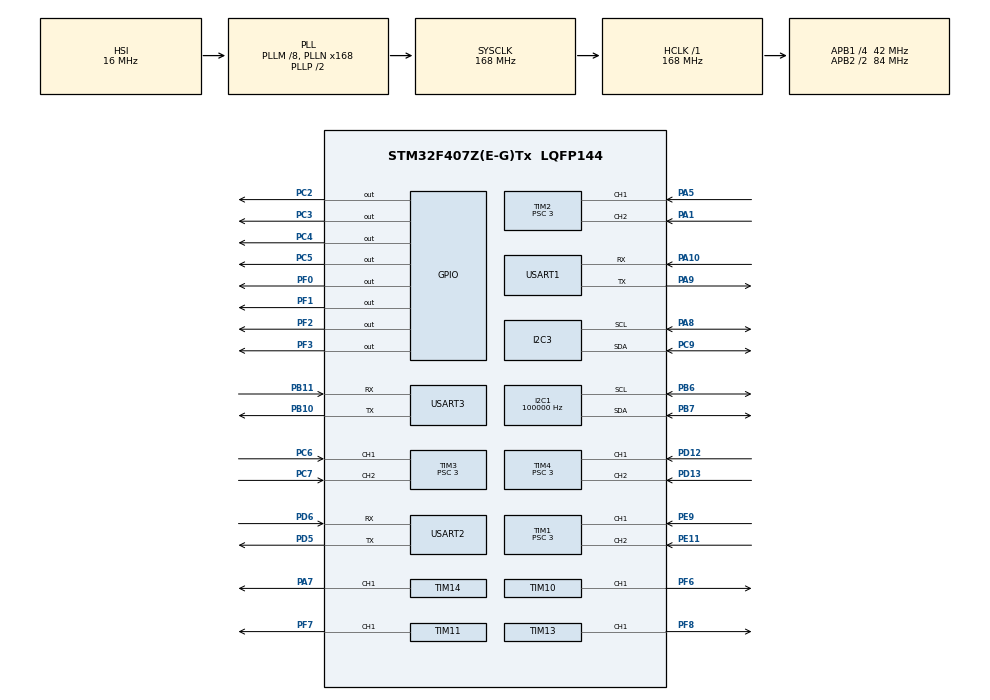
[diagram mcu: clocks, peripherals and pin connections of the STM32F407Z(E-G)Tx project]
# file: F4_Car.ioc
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FREERTOS.Tasks01=defaultTask,0,128,StartDefaultTask,Default,NULL,Dynamic,NULL,NULL;myTask02,-3,256,StartTask02,Default,NULL,Dynamic,NULL,NULL;myTask03,-3,256,StartTask03,Default,NULL,Dynamic,NULL,NULL
I2C1.ClockSpeed=100000
Mcu.Family=STM32F4
Mcu.Name=STM32F407Z(E-G)Tx
Mcu.Package=LQFP144
NVIC.PriorityGroup=NVIC_PRIORITYGROUP_4
NVIC.TIM6_DAC_IRQn=true\:5\:0\:true\:false\:true\:true\:true\:true\:true
NVIC.TIM7_IRQn=true\:7\:0\:true\:false\:true\:true\:true\:true\:true
NVIC.USART2_IRQn=true\:6\:0\:true\:false\:true\:true\:true\:true\:true
NVIC.USART3_IRQn=true\:6\:0\:true\:false\:true\:true\:true\:true\:true
PA1.Signal=S_TIM2_CH2
PA10.Mode=Asynchronous
PA10.Signal=USART1_RX
PA5.Signal=S_TIM2_CH1_ETR
PA7.Signal=S_TIM14_CH1
PA8.Mode=I2C
PA8.Signal=I2C3_SCL
PA9.Mode=Asynchronous
PA9.Signal=USART1_TX
PB10.Mode=Asynchronous
PB10.Signal=USART3_TX
PB11.Mode=Asynchronous
PB11.Signal=USART3_RX
PB6.Mode=I2C
PB6.Signal=I2C1_SCL
PB7.Mode=I2C
PB7.Signal=I2C1_SDA
PC2.GPIO_PuPd=GPIO_PULLDOWN
PC2.GPIO_Speed=GPIO_SPEED_FREQ_MEDIUM
PC2.PinState=GPIO_PIN_RESET
PC2.Signal=GPIO_Output
PC3.GPIO_PuPd=GPIO_PULLDOWN
PC3.GPIO_Speed=GPIO_SPEED_FREQ_MEDIUM
PC3.Signal=GPIO_Output
PC4.GPIO_PuPd=GPIO_PULLDOWN
PC4.GPIO_Speed=GPIO_SPEED_FREQ_MEDIUM
PC4.Signal=GPIO_Output
PC5.GPIO_PuPd=GPIO_PULLDOWN
PC5.GPIO_Speed=GPIO_SPEED_FREQ_MEDIUM
PC5.Signal=GPIO_Output
PC6.Signal=S_TIM3_CH1
PC7.Signal=S_TIM3_CH2
PC9.Mode=I2C
PC9.Signal=I2C3_SDA
PD12.Signal=S_TIM4_CH1
PD13.Signal=S_TIM4_CH2
PD5.Mode=Asynchronous
PD5.Signal=USART2_TX
PD6.Mode=Asynchronous
PD6.Signal=USART2_RX
PE11.Signal=S_TIM1_CH2
PE9.Signal=S_TIM1_CH1
PF0.Signal=GPIO_Output
PF1.GPIO_PuPd=GPIO_PULLDOWN
PF1.GPIO_Speed=GPIO_SPEED_FREQ_MEDIUM
PF1.Signal=GPIO_Output
PF2.GPIO_PuPd=GPIO_PULLDOWN
PF2.GPIO_Speed=GPIO_SPEED_FREQ_MEDIUM
PF2.Signal=GPIO_Output
PF3.GPIO_PuPd=GPIO_PULLDOWN
PF3.GPIO_Speed=GPIO_SPEED_FREQ_MEDIUM
PF3.Signal=GPIO_Output
PF6.Signal=S_TIM10_CH1
PF7.Signal=S_TIM11_CH1
PF8.Signal=S_TIM13_CH1
PH0-OSC_IN.Mode=HSE-External-Oscillator
PH0-OSC_IN.Signal=RCC_OSC_IN
PH1-OSC_OUT.Mode=HSE-External-Oscillator
PH1-OSC_OUT.Signal=RCC_OSC_OUT
ProjectManager.HeapSize=0x200
ProjectManager.StackSize=0x400
ProjectManager.TargetToolchain=MDK-ARM V5.32
RCC.48MHZClocksFreq_Value=84000000
RCC.AHBFreq_Value=168000000
RCC.APB1CLKDivider=RCC_HCLK_DIV4
RCC.APB1Freq_Value=42000000
RCC.APB1TimFreq_Value=84000000
RCC.APB2CLKDivider=RCC_HCLK_DIV2
RCC.APB2Freq_Value=84000000
RCC.APB2TimFreq_Value=168000000
RCC.CortexFreq_Value=168000000
RCC.HCLKFreq_Value=168000000
RCC.HSE_VALUE=25000000
RCC.HSI_VALUE=16000000
RCC.LSE_VALUE=32768
RCC.PLLM=8
RCC.PLLN=168
RCC.SYSCLKFreq_VALUE=168000000
RCC.SYSCLKSource=RCC_SYSCLKSOURCE_PLLCLK
RCC.VCOOutputFreq_Value=336000000
SH.S_TIM10_CH1.0=TIM10_CH1,PWM Generation1 CH1
SH.S_TIM11_CH1.0=TIM11_CH1,PWM Generation1 CH1
SH.S_TIM13_CH1.0=TIM13_CH1,PWM Generation1 CH1
SH.S_TIM14_CH1.0=TIM14_CH1,PWM Generation1 CH1
SH.S_TIM1_CH1.0=TIM1_CH1,Encoder_Interface
SH.S_TIM1_CH2.0=TIM1_CH2,Encoder_Interface
SH.S_TIM2_CH1_ETR.0=TIM2_CH1,Encoder_Interface
SH.S_TIM2_CH2.0=TIM2_CH2,Encoder_Interface
SH.S_TIM3_CH1.0=TIM3_CH1,Encoder_Interface
SH.S_TIM3_CH2.0=TIM3_CH2,Encoder_Interface
SH.S_TIM4_CH1.0=TIM4_CH1,Encoder_Interface
SH.S_TIM4_CH2.0=TIM4_CH2,Encoder_Interface
TIM1.ClockDivision=TIM_CLOCKDIVISION_DIV1
TIM1.EncoderMode=TIM_ENCODERMODE_TI12
TIM1.IC1Filter=1
TIM1.IC2Filter=1
TIM1.Prescaler=3
TIM10.Channel=TIM_CHANNEL_1
TIM10.Period=2000-1
TIM10.Prescaler=4-1
TIM11.Channel=TIM_CHANNEL_1
TIM11.Period=2000-1
TIM11.Prescaler=4-1
TIM13.Channel=TIM_CHANNEL_1
TIM13.Period=2000-1
TIM13.Prescaler=4-1
TIM14.Channel=TIM_CHANNEL_1
TIM14.Period=2000-1
TIM14.Prescaler=4-1
TIM2.EncoderMode=TIM_ENCODERMODE_TI12
TIM2.IC1Filter=1
TIM2.IC2Filter=1
TIM2.Prescaler=3
TIM3.EncoderMode=TIM_ENCODERMODE_TI12
TIM3.IC1Filter=1
TIM3.IC2Filter=1
TIM3.Prescaler=3
TIM4.ClockDivision=TIM_CLOCKDIVISION_DIV1
TIM4.EncoderMode=TIM_ENCODERMODE_TI12
TIM4.IC1Filter=1
TIM4.IC2Filter=1
TIM4.Prescaler=3
TIM6.AutoReloadPreload=TIM_AUTORELOAD_PRELOAD_DISABLE
TIM6.Period=10000-1
TIM6.Prescaler=8400-1
TIM7.Period=200-1
TIM7.Prescaler=8400-1
USART1.VirtualMode=VM_ASYNC
USART2.VirtualMode=VM_ASYNC
USART3.VirtualMode=VM_ASYNC
VP_FREERTOS_VS_CMSIS_V1.Mode=CMSIS_V1
VP_TIM10_VS_ClockSourceINT.Mode=Enable_Timer
VP_TIM11_VS_ClockSourceINT.Mode=Enable_Timer
VP_TIM13_VS_ClockSourceINT.Mode=Enable_Timer
VP_TIM14_VS_ClockSourceINT.Mode=Enable_Timer
VP_TIM6_VS_ClockSourceINT.Mode=Enable_Timer
VP_TIM7_VS_ClockSourceINT.Mode=Enable_Timer
board=custom

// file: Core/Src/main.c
/* USER CODE BEGIN Header */
/**
  ******************************************************************************
  * @file           : main.c
  * @brief          : Main program body
  ******************************************************************************
  * @attention
  *
  * Copyright (c) 2022 STMicroelectronics.
  * All rights reserved.
  *
  * This software is licensed under terms that can be found in the LICENSE file
  * in the root directory of this software component.
  * If no LICENSE file comes with this software, it is provided AS-IS.
  *
  ******************************************************************************
  */
/* USER CODE END Header */
#include "main.h"
#include "cmsis_os.h"
#include "i2c.h"
#include "tim.h"
#include "usart.h"
#include "gpio.h"

/* USER CODE BEGIN Includes */
#include "mpu6050.h"
#include "inv_mpu.h"
#include "pid.h"
#include "control.h"
#include "encoder.h"
/* USER CODE END Includes */

/* USER CODE BEGIN PTD */

extern int  PWM_L_Behind, PWM_R_Behind, PWM_L_Front, PWM_R_Front;
extern long EncoderData_L_Behind, EncoderData_R_Behind, EncoderData_L_Front, EncoderData_R_Front;
extern _pid pid_speed_L_Behind, pid_speed_R_Behind, pid_speed_L_Front, pid_speed_R_Front;
/* USER CODE END PTD */

void SystemClock_Config(void);
void MX_FREERTOS_Init(void);

/* USER CODE BEGIN 0 */

void HAL_TIM_PeriodElapsedCallback(TIM_HandleTypeDef *htim)
	{
		if(htim->Instance == TIM6)//1s一次中断
		{
//				USART2Printf("PWM_R:%d\r\n",PWM_R);
//			printf("TIM6:1s\r\n");
//			mpu_dmp_get_data(&pitch,&roll,&yaw);
//			printf("pitch:%.2f,roll:%.2f,yaw:%.2f",pitch,roll,yaw);
		}
		if(htim->Instance == TIM7)//20毫秒一次中断，用于pid调节
		{

			Read_Encoder();		//读取两个编码器的值
			Speed_control();

		}
}

/* USER CODE END 0 */

int main(void)
{

  /* MCU Configuration--------------------------------------------------------*/

  /* Reset of all peripherals, Initializes the Flash interface and the Systick. */
  HAL_Init();

  /* Configure the system clock */
  SystemClock_Config();

  /* Initialize all configured peripherals */
  MX_GPIO_Init();
  MX_I2C1_Init();
  MX_TIM3_Init();
  MX_TIM4_Init();
  MX_TIM6_Init();
  MX_TIM7_Init();
  MX_USART1_UART_Init();
  MX_USART2_UART_Init();
  MX_I2C3_Init();
  MX_TIM13_Init();
  MX_TIM14_Init();
  MX_USART3_UART_Init();
  MX_TIM1_Init();
  MX_TIM2_Init();
  MX_TIM10_Init();
  MX_TIM11_Init();
  /* USER CODE BEGIN 2 */

//	MPU_Init();
//	HAL_Delay(50);
//	while(mpu_dmp_init()){
////		printf("mpu6050 error code:%d\r\n",mpu_dmp_init());
//		HAL_Delay(500);
//	}
//	printf("mpu6050 success!\r\n");
//
//	printf("init success!\r\n");

	HAL_TIM_Base_Start_IT(&htim6);//开启定时器6中断
	HAL_TIM_Base_Start_IT(&htim7);//开启定时器7中断

	PID_param_init();

  /* USER CODE END 2 */

  /* Call init function for freertos objects (in freertos.c) */
  MX_FREERTOS_Init();

  /* Start scheduler */
  osKernelStart();

  /* We should never get here as control is now taken by the scheduler */
  /* Infinite loop */
  while (1)
  {

  }
}

void SystemClock_Config(void)
{
  RCC_OscInitTypeDef RCC_OscInitStruct = {0};
  RCC_ClkInitTypeDef RCC_ClkInitStruct = {0};

  /** Configure the main internal regulator output voltage
  */
  __HAL_RCC_PWR_CLK_ENABLE();
  __HAL_PWR_VOLTAGESCALING_CONFIG(PWR_REGULATOR_VOLTAGE_SCALE1);

  /** Initializes the RCC Oscillators according to the specified parameters
  * in the RCC_OscInitTypeDef structure.
  */
  RCC_OscInitStruct.OscillatorType = RCC_OSCILLATORTYPE_HSI;
  RCC_OscInitStruct.HSIState = RCC_HSI_ON;
  RCC_OscInitStruct.HSICalibrationValue = RCC_HSICALIBRATION_DEFAULT;
  RCC_OscInitStruct.PLL.PLLState = RCC_PLL_ON;
  RCC_OscInitStruct.PLL.PLLSource = RCC_PLLSOURCE_HSI;
  RCC_OscInitStruct.PLL.PLLM = 8;
  RCC_OscInitStruct.PLL.PLLN = 168;
  RCC_OscInitStruct.PLL.PLLP = RCC_PLLP_DIV2;
  RCC_OscInitStruct.PLL.PLLQ = 4;
  if (HAL_RCC_OscConfig(&RCC_OscInitStruct) != HAL_OK)
  {
    Error_Handler();
  }

  /** Initializes the CPU, AHB and APB buses clocks
  */
  RCC_ClkInitStruct.ClockType = RCC_CLOCKTYPE_HCLK|RCC_CLOCKTYPE_SYSCLK
                              |RCC_CLOCKTYPE_PCLK1|RCC_CLOCKTYPE_PCLK2;
  RCC_ClkInitStruct.SYSCLKSource = RCC_SYSCLKSOURCE_PLLCLK;
  RCC_ClkInitStruct.AHBCLKDivider = RCC_SYSCLK_DIV1;
  RCC_ClkInitStruct.APB1CLKDivider = RCC_HCLK_DIV4;
  RCC_ClkInitStruct.APB2CLKDivider = RCC_HCLK_DIV2;

  if (HAL_RCC_ClockConfig(&RCC_ClkInitStruct, FLASH_LATENCY_5) != HAL_OK)
  {
    Error_Handler();
  }
}

/* USER CODE BEGIN 4 */
/**
 * @brief		重定向printf函数到串口
 * fputc
 */
int fputc(int ch, FILE * f)
{
//	HAL_UART_Transmit(&huart1,(uint8_t *)&ch,1,0xffff);//发送串口
////	while (USART_GetFlagStatus(USART1, USART_FLAG_TC) == RESET);
//	return ch;

    //具体哪个串口可以更改USART1为其它串口
    while ((USART1->SR & 0X40) == 0); //循环发送,直到发送完毕
    USART1->DR = (uint8_t) ch;
    return ch;
}
/* USER CODE END 4 */

void Error_Handler(void)
{
  __disable_irq();
  while (1)
  {
  }
}

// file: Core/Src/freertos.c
/* USER CODE BEGIN Header */
/**
  ******************************************************************************
  * File Name          : freertos.c
  * Description        : Code for freertos applications
  ******************************************************************************
  * @attention
  *
  * Copyright (c) 2022 STMicroelectronics.
  * All rights reserved.
  *
  * This software is licensed under terms that can be found in the LICENSE file
  * in the root directory of this software component.
  * If no LICENSE file comes with this software, it is provided AS-IS.
  *
  ******************************************************************************
  */
/* USER CODE END Header */

#include "FreeRTOS.h"
#include "task.h"
#include "main.h"
#include "cmsis_os.h"

/* USER CODE BEGIN Includes */
#include "usart.h"
#include "mpu6050.h"
#include "inv_mpu.h"
#include "tim.h"
#include "pid.h"
#include "control.h"
#include "encoder.h"
/* USER CODE END Includes */

/* USER CODE BEGIN PTD */
uint8_t  ESP32_Buffer[255];

extern uint8_t USART2_flag;
extern uint8_t  USART2_Buffer[255];//收到的数据存放处
extern uint8_t USART3_flag;
extern uint8_t  USART3_Buffer[255];//收到的数据存放处

//extern char one[5],two[5],three[5],four[5],five[5],six[5];
//extern char one_k210[5],two_k210[5],three_k210[5];

extern int  PWM_L_Behind, PWM_R_Behind, PWM_L_Front, PWM_R_Front;
extern long EncoderData_L_Behind,EncoderData_L_Behind,EncoderData_L_Front,EncoderData_L_Front;
extern int Direction_L_Behind,Direction_R_Behind,Direction_L_Front,Direction_R_Front;
extern _pid pid_speed_L_Behind, pid_speed_R_Behind, pid_speed_L_Front, pid_speed_R_Front;
/* USER CODE END PTD */

/* USER CODE BEGIN Variables */
float pitch,roll,yaw;//data of MPU6050
uint8_t mpu_res;//Get callback data of MPU6050.If it is 0,geting datas of MPU6050 is successful!

/* USER CODE END Variables */
osThreadId defaultTaskHandle;
osThreadId myTask02Handle;
osThreadId myTask03Handle;

void StartDefaultTask(void const * argument);
void StartTask02(void const * argument);
void StartTask03(void const * argument);

void MX_FREERTOS_Init(void); /* (MISRA C 2004 rule 8.1) */

/* GetIdleTaskMemory prototype (linked to static allocation support) */
void vApplicationGetIdleTaskMemory( StaticTask_t **ppxIdleTaskTCBBuffer, StackType_t **ppxIdleTaskStackBuffer, uint32_t *pulIdleTaskStackSize );

/* USER CODE BEGIN GET_IDLE_TASK_MEMORY */
static StaticTask_t xIdleTaskTCBBuffer;
static StackType_t xIdleStack[configMINIMAL_STACK_SIZE];

void vApplicationGetIdleTaskMemory( StaticTask_t **ppxIdleTaskTCBBuffer, StackType_t **ppxIdleTaskStackBuffer, uint32_t *pulIdleTaskStackSize )
{
  *ppxIdleTaskTCBBuffer = &xIdleTaskTCBBuffer;
  *ppxIdleTaskStackBuffer = &xIdleStack[0];
  *pulIdleTaskStackSize = configMINIMAL_STACK_SIZE;
  /* place for user code */
}
/* USER CODE END GET_IDLE_TASK_MEMORY */

void MX_FREERTOS_Init(void) {

  /* Create the thread(s) */
  /* definition and creation of defaultTask */
  osThreadDef(defaultTask, StartDefaultTask, osPriorityNormal, 0, 128);
  defaultTaskHandle = osThreadCreate(osThread(defaultTask), NULL);

  /* definition and creation of myTask02 */
  osThreadDef(myTask02, StartTask02, osPriorityIdle, 0, 256);
  myTask02Handle = osThreadCreate(osThread(myTask02), NULL);

  /* definition and creation of myTask03 */
  osThreadDef(myTask03, StartTask03, osPriorityIdle, 0, 256);
  myTask03Handle = osThreadCreate(osThread(myTask03), NULL);

}

void StartDefaultTask(void const * argument)
{
  /* USER CODE BEGIN StartDefaultTask */
		//	Set_Motor_L_Forward();
	HAL_TIM_Encoder_Start(&htim3, TIM_CHANNEL_ALL);	//开启左后轮编码器计数
	HAL_TIM_Encoder_Start(&htim4, TIM_CHANNEL_ALL);	//开启右后轮编码器计数
	HAL_TIM_Encoder_Start(&htim1, TIM_CHANNEL_ALL);	//开启左前轮编码器计数
	HAL_TIM_Encoder_Start(&htim2, TIM_CHANNEL_ALL);	//开启右前轮编码器计数

	HAL_TIM_PWM_Start(&htim13,TIM_CHANNEL_1);	//开启左后轮的pwm
	HAL_TIM_PWM_Start(&htim14,TIM_CHANNEL_1);	//开启右后轮的pwm
	HAL_TIM_PWM_Start(&htim10,TIM_CHANNEL_1);	//开启左前轮的pwm
	HAL_TIM_PWM_Start(&htim11,TIM_CHANNEL_1);	//开启右前轮的pwm

	HAL_GPIO_WritePin(GPIOF,GPIO_PIN_0|GPIO_PIN_2,GPIO_PIN_RESET);
	HAL_GPIO_WritePin(GPIOF,GPIO_PIN_1|GPIO_PIN_3,GPIO_PIN_SET);
	HAL_GPIO_WritePin(GPIOC,GPIO_PIN_2|GPIO_PIN_4,GPIO_PIN_RESET);
	HAL_GPIO_WritePin(GPIOC,GPIO_PIN_3|GPIO_PIN_5,GPIO_PIN_SET);

	set_pid_target(&pid_speed_L_Behind, 10); //初始速度设置
	set_pid_target(&pid_speed_R_Behind, 10); //
	set_pid_target(&pid_speed_L_Front, 10); //
	set_pid_target(&pid_speed_R_Front, 10); //

//	__HAL_TIM_SetCompare(&htim13, TIM_CHANNEL_1, 2000);//设置左后轮pwm
//	__HAL_TIM_SetCompare(&htim14, TIM_CHANNEL_1, 0);//设置右后轮pwm
//	__HAL_TIM_SetCompare(&htim10, TIM_CHANNEL_1, 0);//设置左前轮pwm
//	__HAL_TIM_SetCompare(&htim11, TIM_CHANNEL_1, 0);//设置右前轮pwm

  /* Infinite loop */
  for(;;)
  {

    osDelay(5);
  }
  /* USER CODE END StartDefaultTask */
}

void StartTask02(void const * argument)
{
  /* USER CODE BEGIN StartTask02 */
  /* Infinite loop */
  for(;;)
  {
		osDelay(100);
//		mpu_res = mpu_dmp_get_data(&pitch,&roll,&yaw);//If mpu_res is 0,geting datas of MPU6050 is successful!
//		if(!mpu_res){
//			printf("read mpu6050 success!\r\n");
//			printf("角度：%.2f\t    %.2f\t   %.2f\r\n",pitch,roll,yaw);
//		}
  }
  /* USER CODE END StartTask02 */
}

void StartTask03(void const * argument)
{
  /* USER CODE BEGIN StartTask03 */
  /* Infinite loop */
  for(;;)
  {

    osDelay(2);
  }
  /* USER CODE END StartTask03 */
}
